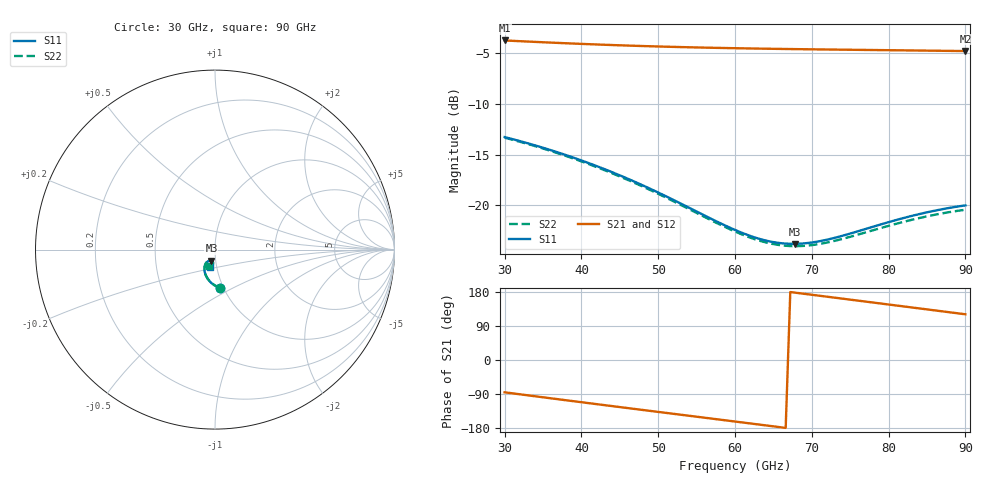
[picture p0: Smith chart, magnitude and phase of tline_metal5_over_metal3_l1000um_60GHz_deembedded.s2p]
! Created with skrf 2.0.1 (http://scikit-rf.org).
# GHz S DB R 50.0
!freq dBS11 angS11 dBS21 angS21 dBS12 angS12 dBS22 angS22
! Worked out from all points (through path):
!   101 points, 30 GHz to 90 GHz, reference 50 ohm
!   highest |S21| = -3.80 dB at 30 GHz (marker M1); lowest = -4.8 dB at 90 GHz (marker M2)
!   group delay of S21, straight-line fit = 7.11 ps
!   lowest |S11| = -23.8 dB at 67.8 GHz (marker M3), VSWR 1.14, Z = 47.7 - j5.91 ohm
!   |S11| at or under -10 dB: start of sweep to end of sweep
!   |S22| runs from -24.0 to -13.3 dB; largest |S21 - S12| = 6.7e-14
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30  -13.29 -82.2  -3.80 -85.2  -3.80 -85.2  -13.35 -82.3
32.4  -13.77 -88.0  -3.88 -91.6  -3.88 -91.6  -13.84 -88.2
34.8  -14.29 -93.5  -3.97 -97.9  -3.97 -97.9  -14.37 -93.8
37.2  -14.86 -98.8  -4.05 -104.1  -4.05 -104.1  -14.94 -99.1
40.2  -15.64 -105.0  -4.14 -111.9  -4.14 -111.9  -15.73 -105.4
45  -17.05 -113.5  -4.27 -124.2  -4.27 -124.2  -17.16 -114.1
48  -18.04 -117.8  -4.34 -131.9  -4.34 -131.9  -18.15 -118.4
50.4  -18.88 -120.5  -4.40 -138.0  -4.40 -138.0  -19.01 -121.2
55.2  -20.68 -123.1  -4.49 -150.2  -4.49 -150.2  -20.81 -124.1
57.6  -21.57 -122.7  -4.52 -156.3  -4.52 -156.3  -21.72 -123.8
60  -22.41 -120.9  -4.56 -162.4  -4.56 -162.4  -22.57 -122.2
62.4  -23.11 -117.7  -4.59 -168.5  -4.59 -168.5  -23.28 -119.3
64.2  -23.49 -114.7  -4.61 -173.1  -4.61 -173.1  -23.67 -116.4
66  -23.71 -111.2  -4.63 -177.6  -4.63 -177.6  -23.92 -113.0
67.8  -23.78 -107.7  -4.65 177.8  -4.65 177.8  -24.01 -109.7
70.2  -23.62 -103.4  -4.67 171.6  -4.67 171.6  -23.88 -105.6
72.6  -23.26 -100.2  -4.69 165.5  -4.69 165.5  -23.55 -102.4
75  -22.77 -98.2  -4.71 159.3  -4.71 159.3  -23.08 -100.5
77.4  -22.23 -97.5  -4.73 153.1  -4.73 153.1  -22.57 -99.9
80.4  -21.56 -98.1  -4.76 145.4  -4.76 145.4  -21.93 -100.6
85.2  -20.65 -101.7  -4.80 133.0  -4.80 133.0  -21.05 -104.3
90  -20.00 -107.3  -4.84 120.6  -4.84 120.6  -20.43 -110.0
